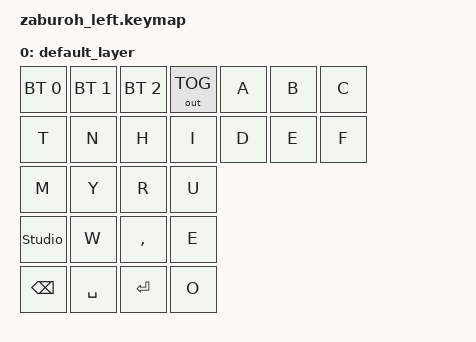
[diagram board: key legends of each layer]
// This file was generated from a template. Edit it to match your keyboard.
// See https://zmk.dev/docs/development/hardware-integration/new-shield for more instructions.

#include <behaviors.dtsi>
#include <dt-bindings/zmk/keys.h>
#include <dt-bindings/zmk/bt.h>
#include <dt-bindings/zmk/outputs.h>

/ {
    // Define a default keymap here.
    // See https://zmk.dev/docs/development/hardware-integration/new-shield#default-keymap.
    keymap {
        compatible = "zmk,keymap";

        default_layer {
            bindings = <
                &bt BT_SEL 0 &bt BT_SEL 1 &bt BT_SEL 2 &out OUT_TOG &kp A &kp B &kp C
                &kp T &kp N &kp H &kp I &kp D &kp E &kp F
                &kp M &kp Y &kp R &kp U
                &studio_unlock &kp W &kp COMMA &kp E
                &kp BACKSPACE &kp SPACE &kp RETURN &kp O
            >;
        };
    };
};
